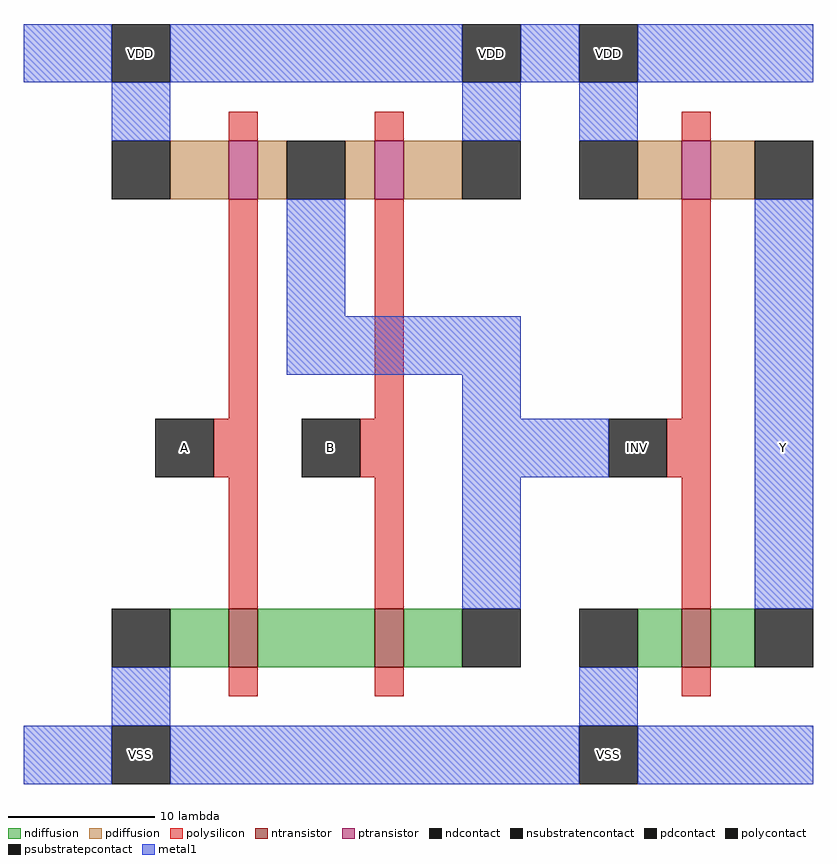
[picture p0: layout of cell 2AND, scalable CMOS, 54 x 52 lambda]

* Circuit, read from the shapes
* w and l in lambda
.subckt 2AND A B INV VDD VSS Y
M1 n1 A VSS VSS nfet w=4 l=2
M2 INV B n1 VSS nfet w=4 l=2
M3 Y INV VSS VSS nfet w=4 l=2
M4 INV A VDD VDD pfet w=4 l=2
M5 VDD B INV VDD pfet w=4 l=2
M6 Y INV VDD VDD pfet w=4 l=2
.ends

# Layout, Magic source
magic
tech scmos
<< ntransistor >>
rect 12 8 14 12
rect 22 8 24 12
rect 43 8 45 12
<< ptransistor >>
rect 12 40 14 44
rect 22 40 24 44
rect 43 40 45 44
<< ndiffusion >>
rect 8 8 12 12
rect 14 8 22 12
rect 24 8 28 12
rect 40 8 43 12
rect 45 8 48 12
<< pdiffusion >>
rect 8 40 12 44
rect 14 40 16 44
rect 20 40 22 44
rect 24 40 28 44
rect 40 40 43 44
rect 45 40 48 44
<< ndcontact >>
rect 4 8 8 12
rect 28 8 32 12
rect 36 8 40 12
rect 48 8 52 12
<< pdcontact >>
rect 4 40 8 44
rect 16 40 20 44
rect 28 40 32 44
rect 36 40 40 44
rect 48 40 52 44
<< psubstratepcontact >>
rect 4 0 8 4
rect 36 0 40 4
<< nsubstratencontact >>
rect 4 48 8 52
rect 28 48 32 52
rect 36 48 40 52
<< polysilicon >>
rect 12 44 14 46
rect 22 44 24 46
rect 43 44 45 46
rect 12 25 14 40
rect 22 25 24 40
rect 43 25 45 40
rect 11 21 14 25
rect 21 21 24 25
rect 42 21 45 25
rect 12 12 14 21
rect 22 12 24 21
rect 43 12 45 21
rect 12 6 14 8
rect 22 6 24 8
rect 43 6 45 8
<< polycontact >>
rect 7 21 11 25
rect 17 21 21 25
rect 38 21 42 25
<< metal1 >>
rect -2 48 4 52
rect 8 48 28 52
rect 32 48 36 52
rect 40 48 52 52
rect 4 44 8 48
rect 28 44 32 48
rect 36 44 40 48
rect 16 32 20 40
rect 16 28 32 32
rect 28 25 32 28
rect 28 21 38 25
rect 28 12 32 21
rect 48 12 52 40
rect 4 4 8 8
rect 36 4 40 8
rect -2 0 4 4
rect 8 0 36 4
rect 40 0 52 4
<< labels >>
rlabel nsubstratencontact 38 50 38 50 1 VDD
rlabel psubstratepcontact 38 2 38 2 1 VSS
rlabel polycontact 40 23 40 23 1 INV
rlabel nsubstratencontact 30 50 30 50 1 VDD
rlabel psubstratepcontact 6 2 6 2 1 VSS
rlabel nsubstratencontact 6 50 6 50 1 VDD
rlabel polycontact 9 23 9 23 1 A
rlabel polycontact 19 23 19 23 1 B
rlabel metal1 50 23 50 23 7 Y
<< end >>
